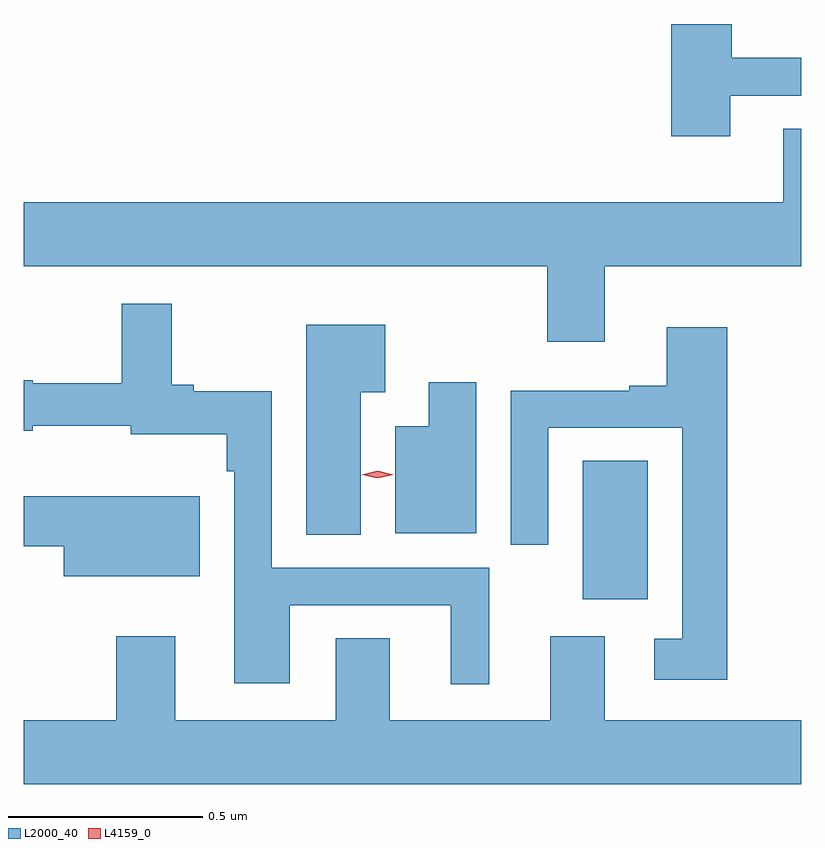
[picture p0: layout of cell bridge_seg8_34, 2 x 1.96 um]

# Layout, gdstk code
import gdstk
lib = gdstk.Library(unit=1e-6, precision=1e-09)
def R(c, l, rs):  # rectangles x0, y0, x1, y1
    for r in rs: c.add(gdstk.rectangle(r[:2], r[2:], *l))
def P(c, l, *ps):  # polygons
    for p in ps: c.add(gdstk.Polygon(p, *l))
L2000_40 = (2000, 40)
L4159_0 = (4159, 0)

bridge_seg8_34 = lib.new_cell('bridge_seg8_34')
R(bridge_seg8_34, L2000_40, [(1045.589,1136.955,1045.756,1137.311)])
P(bridge_seg8_34, L2000_40, [(1045.969,1138.251),(1046.151,1138.251),(1046.151,1138.348),(1045.972,1138.348),(1045.972,1138.435),(1045.817,1138.435),(1045.817,1138.146),(1045.969,1138.146)],
  [(1045.645,1137.812),(1046.151,1137.812),(1046.151,1138.166),(1046.105,1138.166),(1046.105,1137.976),(1044.151,1137.976),(1044.151,1137.812),(1045.498,1137.812),(1045.498,1137.618),(1045.645,1137.618)],
  [(1045.349,1137.036),(1044.789,1137.036),(1044.789,1137.49),(1044.588,1137.49),(1044.588,1137.507),(1044.532,1137.507),(1044.532,1137.715),(1044.403,1137.715),(1044.403,1137.511),(1044.174,1137.511),(1044.174,1137.519),(1044.151,1137.519),(1044.151,1137.389),(1044.174,1137.389),(1044.174,1137.401),(1044.426,1137.401),(1044.426,1137.38),(1044.673,1137.38),(1044.673,1137.284),(1044.693,1137.284),(1044.693,1136.739),(1044.835,1136.739),(1044.835,1136.94),(1045.25,1136.94),(1045.25,1136.736),(1045.349,1136.736)],
  [(1045.018,1137.488),(1045.081,1137.488),(1045.081,1137.661),(1044.878,1137.661),(1044.878,1137.121),(1045.018,1137.121)],
  [(1045.961,1137.655),(1045.805,1137.655),(1045.805,1137.505),(1045.709,1137.505),(1045.709,1137.492),(1045.404,1137.492),(1045.404,1137.096),(1045.5,1137.096),(1045.5,1137.396),(1045.845,1137.396),(1045.845,1136.853),(1045.773,1136.853),(1045.773,1136.748),(1045.961,1136.748)],
  [(1045.315,1137.514),(1045.193,1137.514),(1045.193,1137.4),(1045.106,1137.4),(1045.106,1137.125),(1045.315,1137.125)],
  [(1044.604,1137.22),(1044.151,1137.22),(1044.151,1137.091),(1044.254,1137.091),(1044.254,1137.014),(1044.604,1137.014)],
  [(1046.151,1136.644),(1045.645,1136.644),(1045.645,1136.86),(1045.505,1136.86),(1045.505,1136.644),(1045.093,1136.644),(1045.093,1136.855),(1044.953,1136.855),(1044.953,1136.644),(1044.541,1136.644),(1044.541,1136.86),(1044.389,1136.86),(1044.389,1136.644),(1044.151,1136.644),(1044.151,1136.48),(1046.151,1136.48)])
P(bridge_seg8_34, L4159_0, [(1045.061,1137.266),(1045.021,1137.276),(1045.02,1137.276),(1045.021,1137.276),(1045.061,1137.286),(1045.101,1137.276),(1045.101,1137.276),(1045.101,1137.276)])

lib.write_gds('bridge_seg8_34.gds')
